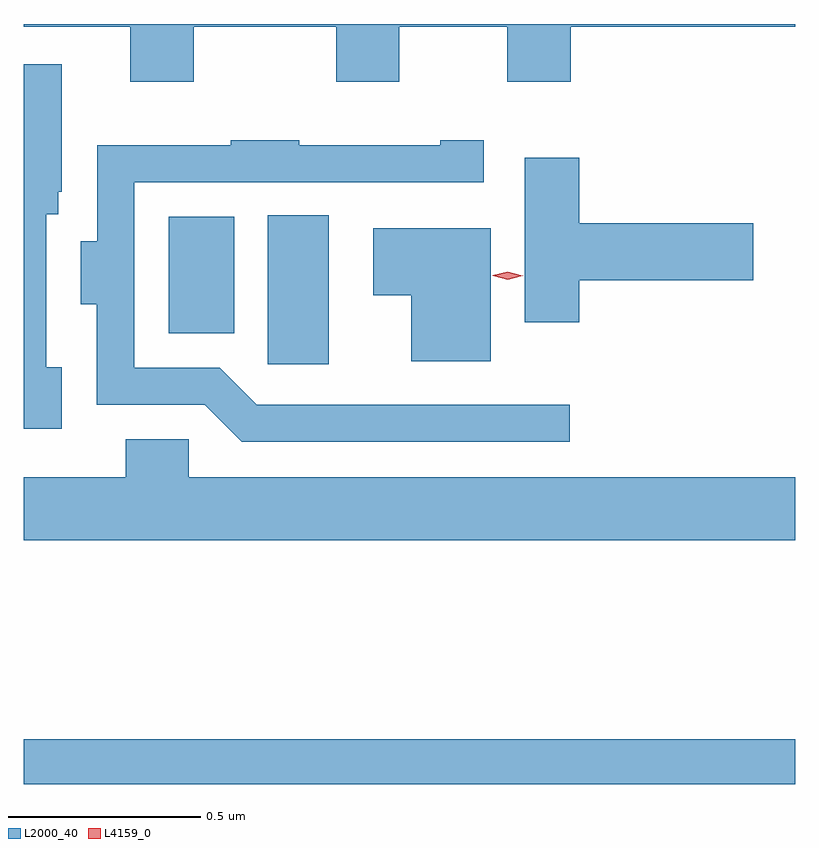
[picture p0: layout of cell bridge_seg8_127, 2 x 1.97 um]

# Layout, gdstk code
import gdstk
lib = gdstk.Library(unit=1e-6, precision=1e-09)
def R(c, l, rs):  # rectangles x0, y0, x1, y1
    for r in rs: c.add(gdstk.rectangle(r[:2], r[2:], *l))
def P(c, l, *ps):  # polygons
    for p in ps: c.add(gdstk.Polygon(p, *l))
L2000_40 = (2000, 40)
L4159_0 = (4159, 0)

bridge_seg8_127 = lib.new_cell('bridge_seg8_127')
R(bridge_seg8_127, L2000_40, [(822.293,1119.864,824.293,1119.98), (822.926,1120.953,823.084,1121.339), (822.668,1121.033,822.838,1121.335)])
P(bridge_seg8_127, L2000_40, [(822.733,1121.828),(823.103,1121.828),(823.103,1121.685),(823.267,1121.685),(823.267,1121.828),(823.547,1121.828),(823.547,1121.685),(823.711,1121.685),(823.711,1121.828),(824.293,1121.828),(824.293,1121.835),(822.293,1121.835),(822.293,1121.828),(822.569,1121.828),(822.569,1121.685),(822.733,1121.685)],
  [(822.391,1120.945),(822.351,1120.945),(822.351,1121.342),(822.382,1121.342),(822.382,1121.4),(822.391,1121.4),(822.391,1121.731),(822.293,1121.731),(822.293,1120.785),(822.391,1120.785)],
  [(823.708,1120.848),(822.897,1120.848),(822.801,1120.944),(822.579,1120.944),(822.579,1121.424),(823.486,1121.424),(823.486,1121.533),(823.373,1121.533),(823.373,1121.521),(823.007,1121.521),(823.007,1121.533),(822.829,1121.533),(822.829,1121.521),(822.483,1121.521),(822.483,1121.272),(822.44,1121.272),(822.44,1121.108),(822.482,1121.108),(822.482,1120.848),(822.762,1120.848),(822.858,1120.752),(823.708,1120.752)],
  [(823.733,1121.171),(824.185,1121.171),(824.185,1121.318),(823.733,1121.318),(823.733,1121.488),(823.592,1121.488),(823.592,1121.061),(823.733,1121.061)],
  [(823.504,1121.305),(823.199,1121.305),(823.199,1121.132),(823.298,1121.132),(823.298,1120.961),(823.504,1120.961)],
  [(824.293,1120.66),(822.72,1120.66),(822.72,1120.758),(822.557,1120.758),(822.557,1120.66),(822.293,1120.66),(822.293,1120.496),(824.293,1120.496)])
P(bridge_seg8_127, L4159_0, [(823.548,1121.172),(823.509,1121.182),(823.509,1121.183),(823.509,1121.183),(823.548,1121.192),(823.587,1121.182),(823.588,1121.182),(823.587,1121.182)])

lib.write_gds('bridge_seg8_127.gds')
